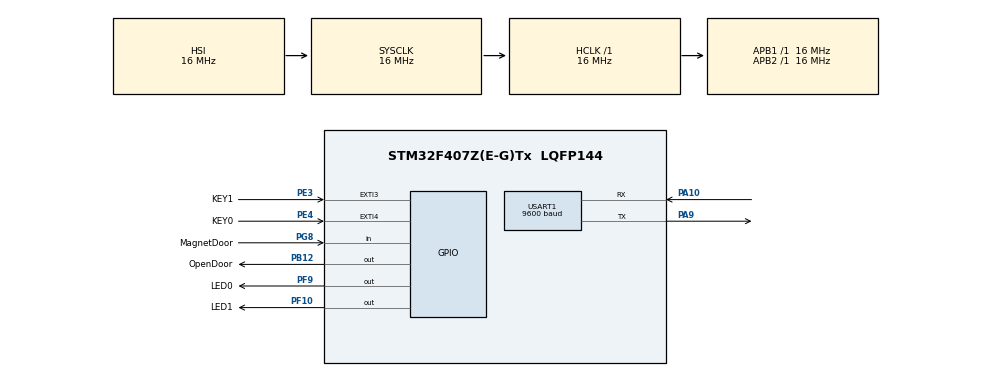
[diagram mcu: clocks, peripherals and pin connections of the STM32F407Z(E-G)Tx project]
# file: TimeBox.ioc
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Mcu.Family=STM32F4
PH0-OSC_IN.Signal=RCC_OSC_IN
PF10.GPIO_ModeDefaultOutputPP=GPIO_MODE_OUTPUT_OD
RCC.CortexFreq_Value=16000000
RTC.Alarm=RTC_ALARM_A
USART1.BaudRate=9600
PG8.Signal=GPIO_Input
NVIC.EXTI3_IRQn=true\:2\:0\:true\:false\:true\:true\:true
VP_RTC_VS_RTC_Activate.Mode=RTC_Enabled
RTC.WeekDay=RTC_WEEKDAY_WEDNESDAY
VP_RTC_VS_RTC_Alarm_A_Intern.Mode=Alarm A
ProjectManager.StackSize=0x400
RCC.HCLKFreq_Value=16000000
RCC.APB2TimFreq_Value=16000000
PB12.PinState=GPIO_PIN_SET
PF10.GPIO_Label=LED1
RCC.AHBFreq_Value=16000000
RCC.HSE_VALUE=8000000
RTC.Minutes=57
PB12.GPIO_ModeDefaultOutputPP=GPIO_MODE_OUTPUT_OD
PB12.GPIO_Label=OpenDoor
RTC.Month=RTC_MONTH_FEBRUARY
PC14-OSC32_IN.Mode=LSE-External-Oscillator
PA14.Mode=Serial_Wire
PE4.GPIO_Label=KEY0
PE4.Signal=GPXTI4
Mcu.Package=LQFP144
PA10.Signal=USART1_RX
VP_RTC_VS_RTC_Calendar.Mode=RTC_Calendar
RCC.APB1TimFreq_Value=16000000
NVIC.USART1_IRQn=true\:0\:0\:true\:false\:true\:true\:true
PC15-OSC32_OUT.Mode=LSE-External-Oscillator
NVIC.EXTI4_IRQn=true\:2\:0\:true\:false\:true\:true\:true
PA10.Mode=Asynchronous
PC14-OSC32_IN.Signal=RCC_OSC32_IN
PG8.GPIO_PuPd=GPIO_PULLUP
PG8.GPIO_Label=MagnetDoor
PA13.Signal=SYS_JTMS-SWDIO
PA9.Mode=Asynchronous
ProjectManager.TargetToolchain=STM32CubeIDE
RTC.Year=21
PA9.Signal=USART1_TX
PF9.GPIO_Label=LED0
PC15-OSC32_OUT.Signal=RCC_OSC32_OUT
board=custom
RCC.VCOOutputFreq_Value=288000000
RCC.APB2Freq_Value=16000000
PF10.Signal=GPIO_Output
PH1-OSC_OUT.Signal=RCC_OSC_OUT
PE3.GPIO_PuPd=GPIO_PULLUP
RCC.RCC_RTC_Clock_SourceVirtual=RCC_RTCCLKSOURCE_LSE
PA13.Mode=Serial_Wire
NVIC.RTC_Alarm_IRQn=true\:0\:0\:false\:false\:true\:true\:true
Mcu.Name=STM32F407Z(E-G)Tx
PE4.GPIO_PuPd=GPIO_PULLUP
RCC.48MHZClocksFreq_Value=144000000
RCC.SYSCLKFreq_VALUE=16000000
RTC.Hours=1
USART1.VirtualMode=VM_ASYNC
PA14.Signal=SYS_JTCK-SWCLK
ProjectManager.HeapSize=0x200
PF9.Signal=GPIO_Output
RCC.HSI_VALUE=16000000
PF9.GPIO_ModeDefaultOutputPP=GPIO_MODE_OUTPUT_OD
RCC.PLLQ=2
NVIC.PriorityGroup=NVIC_PRIORITYGROUP_4
RCC.PLLM=4
RCC.PLLN=72
PE3.Signal=GPXTI3
PE3.GPIO_Label=KEY1
RCC.APB1Freq_Value=16000000
RTC.Date=10
PB12.Signal=GPIO_Output

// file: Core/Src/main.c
/* USER CODE BEGIN Header */
/**
  ******************************************************************************
  * @file           : main.c
  * @brief          : Main program body
  ******************************************************************************
  * @attention
  *
  * <h2><center>&copy; Copyright (c) 2021 STMicroelectronics.
  * All rights reserved.</center></h2>
  *
  * This software component is licensed by ST under BSD 3-Clause license,
  * the "License"; You may not use this file except in compliance with the
  * License. You may obtain a copy of the License at:
  *                        opensource.org/licenses/BSD-3-Clause
  *
  ******************************************************************************
  */
/* USER CODE END Header */
#include "main.h"

/* USER CODE BEGIN Includes */

#include <stdio.h>
#include <math.h>
#include <string.h>

/* USER CODE END Includes */

RTC_HandleTypeDef hrtc;

UART_HandleTypeDef huart1;

/* USER CODE BEGIN PV */

RTC_AlarmTypeDef gAlarm;
RTC_DateTypeDef gDate;
RTC_TimeTypeDef gTime;

char time[9];
char date[9];

uint8_t AlarmRing = 0;
uint32_t NowTime = 0;
uint8_t SetAlarm = 0;
uint8_t SetHours, SetMinutes, SetDate, SetSeconds;
uint8_t CharCounter = 0;
uint32_t MessageTimer = 0;
char Buffer[1];
char Message[70];
char AlarmIsAlreadyOn[] = "Alarm is already on\0";
char AlarmExpired[] = "You can't set expired alarm\0";
char AlarmNowIsOn[] = "Alarm is on\0";
uint8_t DeleteAlarm = 0;
uint8_t GetAlarm = 0;
uint8_t K0isPressed, K1isPressed;
uint8_t DoorIsOpenFlag = 0;
uint8_t OpenTheDoorPlease = 0;

/* USER CODE END PV */

void SystemClock_Config(void);
static void MX_GPIO_Init(void);
static void MX_RTC_Init(void);
static void MX_USART1_UART_Init(void);
/* USER CODE BEGIN PFP */

uint8_t IsNewAlarmMoreFresh(void);
uint8_t IsAlarmSetBeforeNow(void);
uint8_t IsAlarmSetBeforeNow(void);

/* USER CODE END PFP */

/* USER CODE BEGIN 0 */

//Time is storing in format that being in Hex visually looks like the real time in decimals
//So this function translate this format into real decimal number of time digits
uint8_t TurnHexIntoDec(uint8_t hex)
{
	return ((hex & 0x000F) + ((hex >> 4) & 0x000F)*10);
}

uint8_t TurnDecIntoHex(uint8_t dec)
{
	return ((((uint8_t)(floor(dec/10))) << 4) + dec%10);
}

void HappyToggling(uint8_t longetivity)
{
	uint8_t TogglingDelay = 0;
	for (TogglingDelay = 0; TogglingDelay < longetivity; TogglingDelay++)
	{
	  HAL_GPIO_TogglePin(LED0_GPIO_Port, LED0_Pin);
	  HAL_Delay(TogglingDelay);
	}
}

void SetTime(void)
{
	RTC_TimeTypeDef sTime;
	RTC_DateTypeDef sDate;
	/** Initialize RTC and set the Time and Date*/
	sTime.Hours = 0x23;
	sTime.Minutes = 0x25;
	sTime.Seconds = 0x0;
	sTime.DayLightSaving = RTC_DAYLIGHTSAVING_NONE;
	sTime.StoreOperation = RTC_STOREOPERATION_RESET;
	if (HAL_RTC_SetTime(&hrtc, &sTime, RTC_FORMAT_BCD) != HAL_OK)
	{
		Error_Handler();
	}

	sDate.WeekDay = RTC_WEEKDAY_THURSDAY;
	sDate.Month = RTC_MONTH_FEBRUARY;
	sDate.Date = 0x25;
	sDate.Year = 0x21;
	if (HAL_RTC_SetDate(&hrtc, &sDate, RTC_FORMAT_BCD) != HAL_OK)
	{
		Error_Handler();
	}

	HAL_RTCEx_BKUPWrite(&hrtc, RTC_BKP_DR1, 0x32F2);
}

void SetAlarmFunc(uint8_t SetInHours, uint8_t SetInMinutes, uint8_t SetInDate, uint8_t SetInSeconds)
{
	RTC_AlarmTypeDef sAlarm;

	sAlarm.AlarmTime.Hours = TurnDecIntoHex(SetInHours);
	sAlarm.AlarmTime.Minutes = TurnDecIntoHex(SetInMinutes);
	sAlarm.AlarmTime.Seconds = TurnDecIntoHex(SetInSeconds);
	sAlarm.AlarmTime.SubSeconds = 0x0;
	sAlarm.AlarmTime.DayLightSaving = RTC_DAYLIGHTSAVING_NONE;
	sAlarm.AlarmTime.StoreOperation = RTC_STOREOPERATION_RESET;
	sAlarm.AlarmMask = RTC_ALARMMASK_NONE;
	sAlarm.AlarmSubSecondMask = RTC_ALARMSUBSECONDMASK_ALL;
	sAlarm.AlarmDateWeekDaySel = RTC_ALARMDATEWEEKDAYSEL_DATE;
	sAlarm.AlarmDateWeekDay = TurnDecIntoHex(SetInDate);
	sAlarm.Alarm = RTC_ALARM_A;

	if (HAL_RTC_SetAlarm_IT(&hrtc, &sAlarm, RTC_FORMAT_BCD) != HAL_OK)
	{
	Error_Handler();
	}
}

void GetTimeDate(void)
{
	/* Get the RTC current Time */
	HAL_RTC_GetTime(&hrtc, &gTime, RTC_FORMAT_BCD);
	/* Get the RTC current Date */
	HAL_RTC_GetDate(&hrtc, &gDate, RTC_FORMAT_BCD);

	/* Display time Format: hh:mm:ss */
	sprintf((char*)time,"%02x:%02x:%02x",gTime.Hours, gTime.Minutes, gTime.Seconds);

	/* Display date Format: yy-mm-dd */
	sprintf((char*)date,"%02x-%02x-%02x",gDate.Year, gDate.Month, gDate.Date);
}

void HAL_RTC_AlarmAEventCallback(RTC_HandleTypeDef *hrtc)
{
	AlarmRing = 1;
}

uint8_t IsAlarmSetBeforeNow(void)
{
	GetTimeDate();
	HAL_RTC_GetAlarm(&hrtc, &gAlarm, RTC_ALARM_A, RTC_FORMAT_BCD);
	if (gAlarm.AlarmTime.Seconds < gDate.Month)
	{
		return 1;
	} else if (gAlarm.AlarmTime.Seconds > gDate.Month)
	{
		return 0;
	} else
	{
		if (gAlarm.AlarmDateWeekDay < gDate.Date)
		{
			return 1;
		} else if (gAlarm.AlarmDateWeekDay > gDate.Date)
		{
			return 0;
		} else
		{
			if (gAlarm.AlarmTime.Hours < gTime.Hours)
			{
				return 1;
			} else if (gAlarm.AlarmTime.Hours > gTime.Hours)
			{
				return 0;
			} else
			{
				if (gAlarm.AlarmTime.Minutes < gTime.Minutes)
				{
					return 1;
				} else if (gAlarm.AlarmTime.Minutes > gTime.Minutes)
				{
					return 0;
				} else
				{
					return 1;
				}
			}
		}
	}
}

uint8_t IsNewAlarmMoreFresh(void)
{
	HAL_RTC_GetAlarm(&hrtc, &gAlarm, RTC_ALARM_A, RTC_FORMAT_BCD);
	if (gAlarm.AlarmTime.Seconds < TurnDecIntoHex(SetSeconds))
	{
		return 1;
	} else if (gAlarm.AlarmTime.Seconds > TurnDecIntoHex(SetSeconds))
	{
		return 0;
	} else
	{
		if (gAlarm.AlarmDateWeekDay < TurnDecIntoHex(SetDate))
		{
			return 1;
		} else if (gAlarm.AlarmDateWeekDay > TurnDecIntoHex(SetDate))
		{
			return 0;
		} else
		{
			if (gAlarm.AlarmTime.Hours < TurnDecIntoHex(SetHours))
			{
				return 1;
			} else if (gAlarm.AlarmTime.Hours > TurnDecIntoHex(SetHours))
			{
				return 0;
			} else
			{
				if (gAlarm.AlarmTime.Minutes < TurnDecIntoHex(SetMinutes))
				{
					return 1;
				} else if (gAlarm.AlarmTime.Minutes >= TurnDecIntoHex(SetMinutes))
					return 0;
			}
		}
	}

	return 0;
}

uint8_t IsNewAlarmAfterNow(void)
{
	GetTimeDate();
	HAL_RTC_GetTime(&hrtc, &gTime, RTC_FORMAT_BCD);
	HAL_RTC_GetDate(&hrtc, &gDate, RTC_FORMAT_BCD);
	if (TurnDecIntoHex(SetSeconds) > gDate.Month)
	{
		return 1;
	} else if (TurnDecIntoHex(SetSeconds) < gDate.Month)
	{
		return 0;
	} else
	{
		if (TurnDecIntoHex(SetDate) > gDate.Date)
		{
			return 1;
		} else if (TurnDecIntoHex(SetDate) < gDate.Date)
		{
			return 0;
		} else
		{
			if (TurnDecIntoHex(SetHours) > gTime.Hours)
			{
				return 1;
			} else if (TurnDecIntoHex(SetHours) < gTime.Hours)
			{
				return 0;
			} else
			{
				if (TurnDecIntoHex(SetMinutes) > gTime.Minutes)
				{
					return 1;
				} else if (TurnDecIntoHex(SetMinutes) <= gTime.Minutes)
					return 0;
			}
		}
	}
	return 0;
}

void Rewind5Sec(void)
{
	if (K0isPressed)
	{
		RTC_TimeTypeDef gTime;

		HAL_RTC_GetTime(&hrtc, &gTime, RTC_FORMAT_BCD);
		gTime.Seconds = TurnDecIntoHex(TurnHexIntoDec(gTime.Seconds)-5);
		gTime.Hours = TurnDecIntoHex(TurnHexIntoDec(gTime.Hours)+0);

		if (HAL_RTC_SetTime(&hrtc, &gTime, RTC_FORMAT_BCD) != HAL_OK)
		{
		  Error_Handler();
		}

		HAL_RTCEx_BKUPWrite(&hrtc, RTC_BKP_DR1, 0x32F2);

		K0isPressed = 0;
	}
}

void Forwardd5Sec(void)
{
	if (K1isPressed)
	{
		RTC_TimeTypeDef gTime;

		HAL_RTC_GetTime(&hrtc, &gTime, RTC_FORMAT_BCD);
		gTime.Seconds = TurnDecIntoHex(TurnHexIntoDec(gTime.Seconds)+5);
		gTime.Hours = TurnDecIntoHex(TurnHexIntoDec(gTime.Hours)+0);

		if (HAL_RTC_SetTime(&hrtc, &gTime, RTC_FORMAT_BCD) != HAL_OK)
		{
		  Error_Handler();
		}

		HAL_RTCEx_BKUPWrite(&hrtc, RTC_BKP_DR1, 0x32F2);
		K1isPressed = 0;
	}
}

void OpenTheDoor(void)
{
	HAL_GPIO_WritePin(OpenDoor_GPIO_Port, OpenDoor_Pin, RESET);
	HAL_Delay(200);
	HAL_GPIO_WritePin(OpenDoor_GPIO_Port, OpenDoor_Pin, SET);
}

void ToDoOnAlarm(void)
{
	OpenTheDoor();
	HappyToggling(150);
}

  /* USER CODE END 6 */

/* USER CODE END 0 */

int main(void)
{

  /* MCU Configuration--------------------------------------------------------*/

  /* Reset of all peripherals, Initializes the Flash interface and the Systick. */
  HAL_Init();

  /* Configure the system clock */
  SystemClock_Config();

  /* Initialize all configured peripherals */
  MX_GPIO_Init();
  MX_RTC_Init();
  MX_USART1_UART_Init();
  /* USER CODE BEGIN 2 */

  if (HAL_RTCEx_BKUPRead(&hrtc, RTC_BKP_DR1) != 0x32F2)
  {
	  SetTime();
  }

  __HAL_UART_ENABLE_IT(&huart1, UART_IT_RXNE);

  if (IsAlarmSetBeforeNow())
  {
	  OpenTheDoor();
  }

  /* USER CODE END 2 */

  /* Infinite loop */
  while (1)
  {

    /* USER CODE BEGIN 3 */

//	!!
//	if I upload confifugartion from CubeMX Configurator I need to delete set time from MX_RTC_Init()!
//	!!

	  if (HAL_GPIO_ReadPin(MagnetDoor_GPIO_Port, MagnetDoor_Pin) == 0)
	  {
		  HAL_GPIO_TogglePin(LED0_GPIO_Port, LED0_Pin);
		  DoorIsOpenFlag = 0;
	  } else
		  DoorIsOpenFlag = 1;

	  HAL_GPIO_TogglePin(LED1_GPIO_Port, LED1_Pin);
	  HAL_Delay(200);

	  if (SetAlarm)
	  {
		  if (!DoorIsOpenFlag)
		  {
			  if (IsNewAlarmMoreFresh())
			  {
				  if (IsNewAlarmAfterNow())
				  {
					  sprintf((char*)Message, "Set alarm to %02d:%02d of %02d.%02d",SetHours, SetMinutes, SetDate, SetSeconds);
					  HAL_UART_Transmit(&huart1, (uint8_t* )Message, strlen(Message), strlen(Message));
					  HappyToggling(100);
					  SetAlarmFunc(SetHours, SetMinutes, SetDate, SetSeconds);
				  } else
				  {
					  HAL_UART_Transmit(&huart1, (uint8_t* )AlarmExpired, strlen(AlarmExpired), strlen(AlarmExpired));
				  }
			  } else
			  {
				  sprintf(Message, "%s %02x:%02x of %02x.%02x", AlarmIsAlreadyOn, gAlarm.AlarmTime.Hours, gAlarm.AlarmTime.Minutes, gAlarm.AlarmTime.Seconds, gAlarm.AlarmDateWeekDay);
				  HAL_UART_Transmit(&huart1, (uint8_t* )Message, strlen(Message), strlen(Message));
			  }
		  } else
		  {
			  sprintf(Message, "Set alarm to %02d:%02d of %02d.%02d",SetHours, SetMinutes, SetDate, SetSeconds);
			  HAL_UART_Transmit(&huart1, (uint8_t* )Message, strlen(Message), strlen(Message));
			  HappyToggling(100);
			  SetAlarmFunc(SetHours, SetMinutes, SetDate, SetSeconds);
		  }
		  SetAlarm = 0;
	  }

	  GetTimeDate();

	  if (AlarmRing)
	  {
		  ToDoOnAlarm();
		  AlarmRing = 0;
	  }

	  if (DeleteAlarm)
	  {
		  if (DoorIsOpenFlag)
		  {
			  sprintf(Message, "Alarm deleted");
			  HAL_UART_Transmit(&huart1, (uint8_t* )Message, strlen(Message), strlen(Message));
			  SetAlarmFunc(0,0,1,1);
		  } else
		  {
			  sprintf(Message, "You can't delete alarm while the door is closed");
			  HAL_UART_Transmit(&huart1, (uint8_t* )Message, strlen(Message), strlen(Message));
		  }
		  DeleteAlarm = 0;
	  }

	  if (GetAlarm)
	  {
		  HAL_RTC_GetAlarm(&hrtc, &gAlarm, RTC_ALARM_A, RTC_FORMAT_BCD);
		  HAL_RTC_GetTime(&hrtc, &gTime, RTC_FORMAT_BCD);
		  HAL_RTC_GetDate(&hrtc, &gDate, RTC_FORMAT_BCD);
		  sprintf(Message, "%s %02x:%02x of %02x.%02x. Time now: %02x:%02x %02x.%02x.%02x", AlarmNowIsOn, gAlarm.AlarmTime.Hours, gAlarm.AlarmTime.Minutes, gAlarm.AlarmTime.Seconds, gAlarm.AlarmDateWeekDay, gTime.Hours, gTime.Minutes, gDate.Year, gDate.Month, gDate.Date);
		  HAL_UART_Transmit(&huart1, (uint8_t* )Message, strlen(Message)+1, strlen(Message)+1);
		  GetAlarm = 0;
	  }

//	  1000 milliseconds is just a time, taken from nothing, during that RX interrupts will be disabled
	  NowTime = HAL_GetTick();
	  if ((CharCounter >= 1) && (NowTime - MessageTimer > 1000))
	  {
		  CharCounter = 0;
		  __HAL_UART_CLEAR_OREFLAG(&huart1);
		  __HAL_UART_ENABLE_IT(&huart1, UART_IT_RXNE);
		  HappyToggling(30);
		  MessageTimer = 0;
	  }

	  if (OpenTheDoorPlease == 1)
	  {
		  OpenTheDoorPlease = 0;
		  OpenTheDoor();
	  }

	  Rewind5Sec();
	  Forwardd5Sec();
  }
  /* USER CODE END 3 */
}

void SystemClock_Config(void)
{
  RCC_OscInitTypeDef RCC_OscInitStruct = {0};
  RCC_ClkInitTypeDef RCC_ClkInitStruct = {0};
  RCC_PeriphCLKInitTypeDef PeriphClkInitStruct = {0};

  /** Configure the main internal regulator output voltage
  */
  __HAL_RCC_PWR_CLK_ENABLE();
  __HAL_PWR_VOLTAGESCALING_CONFIG(PWR_REGULATOR_VOLTAGE_SCALE1);
  /** Initializes the RCC Oscillators according to the specified parameters
  * in the RCC_OscInitTypeDef structure.
  */
  RCC_OscInitStruct.OscillatorType = RCC_OSCILLATORTYPE_HSI|RCC_OSCILLATORTYPE_LSE;
  RCC_OscInitStruct.LSEState = RCC_LSE_ON;
  RCC_OscInitStruct.HSIState = RCC_HSI_ON;
  RCC_OscInitStruct.HSICalibrationValue = RCC_HSICALIBRATION_DEFAULT;
  RCC_OscInitStruct.PLL.PLLState = RCC_PLL_NONE;
  if (HAL_RCC_OscConfig(&RCC_OscInitStruct) != HAL_OK)
  {
    Error_Handler();
  }
  /** Initializes the CPU, AHB and APB buses clocks
  */
  RCC_ClkInitStruct.ClockType = RCC_CLOCKTYPE_HCLK|RCC_CLOCKTYPE_SYSCLK
                              |RCC_CLOCKTYPE_PCLK1|RCC_CLOCKTYPE_PCLK2;
  RCC_ClkInitStruct.SYSCLKSource = RCC_SYSCLKSOURCE_HSI;
  RCC_ClkInitStruct.AHBCLKDivider = RCC_SYSCLK_DIV1;
  RCC_ClkInitStruct.APB1CLKDivider = RCC_HCLK_DIV1;
  RCC_ClkInitStruct.APB2CLKDivider = RCC_HCLK_DIV1;

  if (HAL_RCC_ClockConfig(&RCC_ClkInitStruct, FLASH_LATENCY_0) != HAL_OK)
  {
    Error_Handler();
  }
  PeriphClkInitStruct.PeriphClockSelection = RCC_PERIPHCLK_RTC;
  PeriphClkInitStruct.RTCClockSelection = RCC_RTCCLKSOURCE_LSE;
  if (HAL_RCCEx_PeriphCLKConfig(&PeriphClkInitStruct) != HAL_OK)
  {
    Error_Handler();
  }
}

static void MX_RTC_Init(void)
{

//  RTC_TimeTypeDef sTime = {0};
//  RTC_DateTypeDef sDate = {0};
//  RTC_AlarmTypeDef sAlarm = {0};

  /** Initialize RTC Only
  */
  hrtc.Instance = RTC;
  hrtc.Init.HourFormat = RTC_HOURFORMAT_24;
  hrtc.Init.AsynchPrediv = 127;
  hrtc.Init.SynchPrediv = 255;
  hrtc.Init.OutPut = RTC_OUTPUT_DISABLE;
  hrtc.Init.OutPutPolarity = RTC_OUTPUT_POLARITY_HIGH;
  hrtc.Init.OutPutType = RTC_OUTPUT_TYPE_OPENDRAIN;
  if (HAL_RTC_Init(&hrtc) != HAL_OK)
  {
    Error_Handler();
  }

  /** Initialize RTC and set the Time and Date
  */
//  sTime.Hours = 0x21;
//  sTime.Minutes = 0x40;
//  sTime.Seconds = 0x0;
//  sTime.DayLightSaving = RTC_DAYLIGHTSAVING_NONE;
//  sTime.StoreOperation = RTC_STOREOPERATION_RESET;
//  if (HAL_RTC_SetTime(&hrtc, &sTime, RTC_FORMAT_BCD) != HAL_OK)
//  {
//    Error_Handler();
//  }
//  sDate.WeekDay = RTC_WEEKDAY_SUNDAY;
//  sDate.Month = RTC_MONTH_MARCH;
//  sDate.Date = 0x21;
//  sDate.Year = 0x21;
//
//  if (HAL_RTC_SetDate(&hrtc, &sDate, RTC_FORMAT_BCD) != HAL_OK)
//  {
//    Error_Handler();
//  }
  /** Enable the Alarm A
  */
//  sAlarm.AlarmTime.Hours = 0x0;
//  sAlarm.AlarmTime.Minutes = 0x0;
//  sAlarm.AlarmTime.Seconds = 0x0;
//  sAlarm.AlarmTime.SubSeconds = 0x0;
//  sAlarm.AlarmTime.DayLightSaving = RTC_DAYLIGHTSAVING_NONE;
//  sAlarm.AlarmTime.StoreOperation = RTC_STOREOPERATION_RESET;
//  sAlarm.AlarmMask = RTC_ALARMMASK_NONE;
//  sAlarm.AlarmSubSecondMask = RTC_ALARMSUBSECONDMASK_ALL;
//  sAlarm.AlarmDateWeekDaySel = RTC_ALARMDATEWEEKDAYSEL_DATE;
//  sAlarm.AlarmDateWeekDay = 0x1;
//  sAlarm.Alarm = RTC_ALARM_A;
//  if (HAL_RTC_SetAlarm_IT(&hrtc, &sAlarm, RTC_FORMAT_BCD) != HAL_OK)
//  {
//    Error_Handler();
//  }

}

static void MX_USART1_UART_Init(void)
{

  huart1.Instance = USART1;
  huart1.Init.BaudRate = 9600;
  huart1.Init.WordLength = UART_WORDLENGTH_8B;
  huart1.Init.StopBits = UART_STOPBITS_1;
  huart1.Init.Parity = UART_PARITY_NONE;
  huart1.Init.Mode = UART_MODE_TX_RX;
  huart1.Init.HwFlowCtl = UART_HWCONTROL_NONE;
  huart1.Init.OverSampling = UART_OVERSAMPLING_16;
  if (HAL_UART_Init(&huart1) != HAL_OK)
  {
    Error_Handler();
  }

}

static void MX_GPIO_Init(void)
{
  GPIO_InitTypeDef GPIO_InitStruct = {0};

  /* GPIO Ports Clock Enable */
  __HAL_RCC_GPIOE_CLK_ENABLE();
  __HAL_RCC_GPIOC_CLK_ENABLE();
  __HAL_RCC_GPIOF_CLK_ENABLE();
  __HAL_RCC_GPIOH_CLK_ENABLE();
  __HAL_RCC_GPIOB_CLK_ENABLE();
  __HAL_RCC_GPIOG_CLK_ENABLE();
  __HAL_RCC_GPIOA_CLK_ENABLE();

  /*Configure GPIO pin Output Level */
  HAL_GPIO_WritePin(GPIOF, LED0_Pin|LED1_Pin, GPIO_PIN_RESET);

  /*Configure GPIO pin Output Level */
  HAL_GPIO_WritePin(OpenDoor_GPIO_Port, OpenDoor_Pin, GPIO_PIN_SET);

  /*Configure GPIO pins : KEY1_Pin KEY0_Pin */
  GPIO_InitStruct.Pin = KEY1_Pin|KEY0_Pin;
  GPIO_InitStruct.Mode = GPIO_MODE_IT_RISING;
  GPIO_InitStruct.Pull = GPIO_PULLUP;
  HAL_GPIO_Init(GPIOE, &GPIO_InitStruct);

  /*Configure GPIO pins : LED0_Pin LED1_Pin */
  GPIO_InitStruct.Pin = LED0_Pin|LED1_Pin;
  GPIO_InitStruct.Mode = GPIO_MODE_OUTPUT_OD;
  GPIO_InitStruct.Pull = GPIO_NOPULL;
  GPIO_InitStruct.Speed = GPIO_SPEED_FREQ_LOW;
  HAL_GPIO_Init(GPIOF, &GPIO_InitStruct);

  /*Configure GPIO pin : OpenDoor_Pin */
  GPIO_InitStruct.Pin = OpenDoor_Pin;
  GPIO_InitStruct.Mode = GPIO_MODE_OUTPUT_OD;
  GPIO_InitStruct.Pull = GPIO_NOPULL;
  GPIO_InitStruct.Speed = GPIO_SPEED_FREQ_LOW;
  HAL_GPIO_Init(OpenDoor_GPIO_Port, &GPIO_InitStruct);

  /*Configure GPIO pin : MagnetDoor_Pin */
  GPIO_InitStruct.Pin = MagnetDoor_Pin;
  GPIO_InitStruct.Mode = GPIO_MODE_INPUT;
  GPIO_InitStruct.Pull = GPIO_PULLUP;
  HAL_GPIO_Init(MagnetDoor_GPIO_Port, &GPIO_InitStruct);

  /* EXTI interrupt init*/
  HAL_NVIC_SetPriority(EXTI3_IRQn, 2, 0);
  HAL_NVIC_EnableIRQ(EXTI3_IRQn);

  HAL_NVIC_SetPriority(EXTI4_IRQn, 2, 0);
  HAL_NVIC_EnableIRQ(EXTI4_IRQn);

}

void Error_Handler(void)
{
  __disable_irq();
  while (1)
  {
  }
}

/************************ (C) COPYRIGHT STMicroelectronics *****END OF FILE****/
